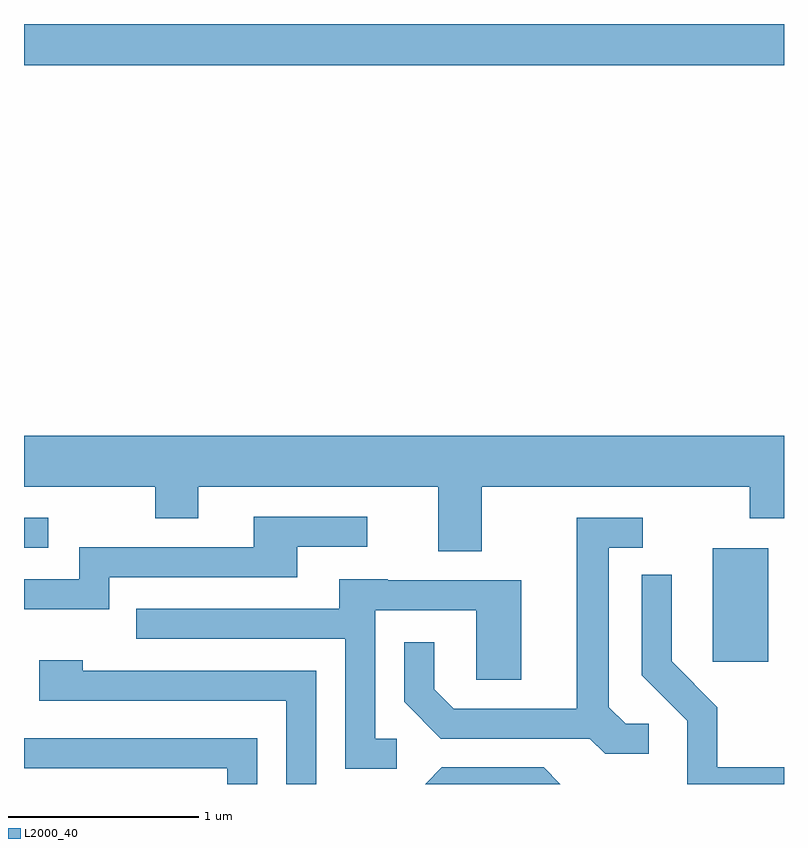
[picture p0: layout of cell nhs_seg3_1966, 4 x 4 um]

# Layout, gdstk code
import gdstk
lib = gdstk.Library(unit=1e-6, precision=1e-09)
def R(c, l, rs):  # rectangles x0, y0, x1, y1
    for r in rs: c.add(gdstk.rectangle(r[:2], r[2:], *l))
def P(c, l, *ps):  # polygons
    for p in ps: c.add(gdstk.Polygon(p, *l))
L2000_40 = (2000, 40)

nhs_seg3_1966 = lib.new_cell('nhs_seg3_1966')
R(nhs_seg3_1966, L2000_40, [(245.236,1240.536,245.529,1241.134), (241.611,1241.136,241.738,1241.294), (241.611,1243.676,245.611,1243.892)])
P(nhs_seg3_1966, L2000_40, [(244.019,1241.456),(245.431,1241.456),(245.431,1241.291),(245.611,1241.291),(245.611,1241.724),(241.611,1241.724),(241.611,1241.456),(242.301,1241.456),(242.301,1241.291),(242.529,1241.291),(242.529,1241.456),(243.791,1241.456),(243.791,1241.116),(244.019,1241.116)],
  [(242.059,1240.981),(243.049,1240.981),(243.049,1241.141),(243.418,1241.141),(243.418,1241.299),(242.821,1241.299),(242.821,1241.139),(241.901,1241.139),(241.901,1240.969),(241.611,1240.969),(241.611,1240.811),(242.059,1240.811)],
  [(244.898,1240.209),(244.777,1240.209),(244.689,1240.297),(244.689,1241.136),(244.868,1241.136),(244.868,1241.294),(244.521,1241.294),(244.521,1240.289),(243.872,1240.289),(243.769,1240.392),(243.769,1240.638),(243.611,1240.638),(243.611,1240.324),(243.804,1240.131),(244.589,1240.131),(244.669,1240.051),(244.898,1240.051)],
  [(245.611,1239.979),(245.259,1239.979),(245.259,1240.297),(245.019,1240.537),(245.019,1240.993),(244.861,1240.993),(244.861,1240.464),(245.101,1240.224),(245.101,1239.892),(245.611,1239.892)],
  [(243.573,1240.129),(243.459,1240.129),(243.459,1240.806),(243.991,1240.806),(243.991,1240.441),(244.229,1240.441),(244.229,1240.964),(243.525,1240.964),(243.525,1240.969),(243.271,1240.969),(243.271,1240.814),(242.203,1240.814),(242.203,1240.656),(243.301,1240.656),(243.301,1239.971),(243.573,1239.971)],
  [(243.149,1240.489),(241.919,1240.489),(241.919,1240.544),(241.691,1240.544),(241.691,1240.331),(242.991,1240.331),(242.991,1239.892),(243.149,1239.892)],
  [(242.839,1240.134),(241.611,1240.134),(241.611,1239.976),(242.681,1239.976),(242.681,1239.892),(242.839,1239.892)],
  [(244.347,1239.979),(243.809,1239.979),(243.722,1239.892),(244.434,1239.892)])

lib.write_gds('nhs_seg3_1966.gds')
